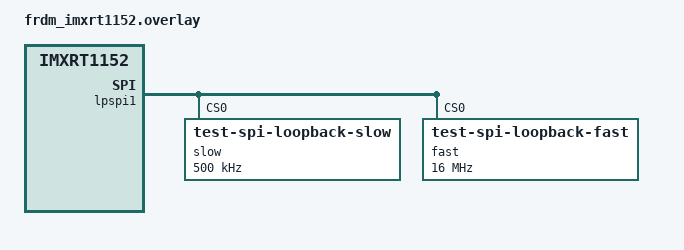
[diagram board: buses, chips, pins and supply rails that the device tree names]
/*
 * SPDX-FileCopyrightText: Copyright 2026 NXP
 *
 * SPDX-License-Identifier: Apache-2.0
 */

/* Short J11-8 (D11, SDO) to J11-10 (D12, SDI) */
&lpspi1 {
	slow@0 {
		compatible = "test-spi-loopback-slow";
		reg = <0>;
		spi-max-frequency = <500000>;
	};

	fast@0 {
		compatible = "test-spi-loopback-fast";
		reg = <0>;
		spi-max-frequency = <16000000>;
	};

	transfer-delay = <100>;
	pcs-sck-delay = <100>;
	sck-pcs-delay = <100>;
};
